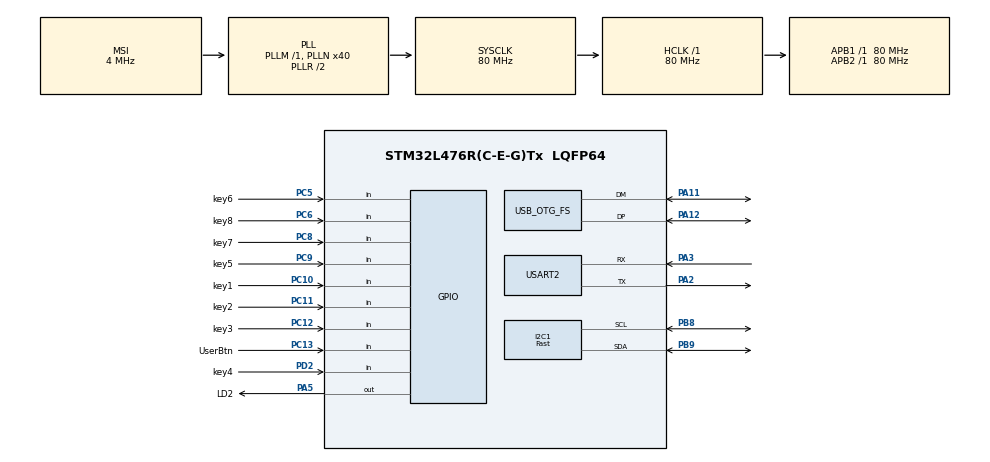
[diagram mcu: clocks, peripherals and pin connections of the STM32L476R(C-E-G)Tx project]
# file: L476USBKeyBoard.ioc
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I2C1.Analog_Filter=I2C_ANALOGFILTER_DISABLE
I2C1.I2C_Coeff_DF=0
I2C1.I2C_Fall_Time=0
I2C1.I2C_Rise_Time=0
I2C1.I2C_Speed_Mode=I2C_Fast
I2C1.OwnAddress=0
I2C1.Timing=0x00702D95
Mcu.Family=STM32L4
Mcu.Name=STM32L476R(C-E-G)Tx
Mcu.Package=LQFP64
NVIC.OTG_FS_IRQn=true\:0\:0\:false\:false\:true
NVIC.PriorityGroup=NVIC_PRIORITYGROUP_4
NVIC.TIM6_DAC_IRQn=true\:0\:0\:false\:false\:true
NVIC.TIM7_IRQn=true\:0\:0\:false\:false\:true
PA11.Mode=Device_Only
PA11.Signal=USB_OTG_FS_DM
PA12.GPIO_PuPd=GPIO_PULLUP
PA12.Mode=Device_Only
PA12.Signal=USB_OTG_FS_DP
PA13.Mode=Serial_Wire
PA13.Signal=SYS_JTMS-SWDIO
PA14.Mode=Serial_Wire
PA14.Signal=SYS_JTCK-SWCLK
PA2.Mode=Asynchronous
PA2.Signal=USART2_TX
PA3.Mode=Asynchronous
PA3.Signal=USART2_RX
PA5.GPIO_Label=LD2
PA5.GPIO_Speed=GPIO_SPEED_FREQ_VERY_HIGH
PA5.Signal=GPIO_Output
PB8.GPIO_FM8=I2C_FASTMODEPLUS_PB8
PB8.GPIO_PuPdOD=GPIO_NOPULL
PB8.GPIO_Speed=GPIO_SPEED_FREQ_VERY_HIGH
PB8.Mode=I2C
PB8.Signal=I2C1_SCL
PB9.GPIO_FM9=I2C_FASTMODEPLUS_PB9
PB9.GPIO_PuPdOD=GPIO_NOPULL
PB9.GPIO_Speed=GPIO_SPEED_FREQ_VERY_HIGH
PB9.Mode=I2C
PB9.Signal=I2C1_SDA
PC10.GPIO_Label=key1
PC10.GPIO_PuPd=GPIO_PULLUP
PC10.Signal=GPIO_Input
PC11.GPIO_Label=key2
PC11.GPIO_PuPd=GPIO_PULLUP
PC11.Signal=GPIO_Input
PC12.GPIO_Label=key3
PC12.GPIO_PuPd=GPIO_PULLUP
PC12.Signal=GPIO_Input
PC13.GPIO_Label=UserBtn
PC13.GPIO_PuPd=GPIO_PULLUP
PC13.Signal=GPIO_Input
PC5.GPIO_Label=key6
PC5.GPIO_PuPd=GPIO_PULLUP
PC5.Signal=GPIO_Input
PC6.GPIO_Label=key8
PC6.GPIO_PuPd=GPIO_PULLUP
PC6.Signal=GPIO_Input
PC8.GPIO_Label=key7
PC8.GPIO_PuPd=GPIO_PULLUP
PC8.Signal=GPIO_Input
PC9.GPIO_Label=key5
PC9.GPIO_PuPd=GPIO_PULLUP
PC9.Signal=GPIO_Input
PD2.GPIO_Label=key4
PD2.GPIO_PuPd=GPIO_PULLUP
PD2.Signal=GPIO_Input
ProjectManager.HeapSize=0x2000
ProjectManager.StackSize=0x2000
ProjectManager.TargetToolchain=EWARM
RCC.ADCFreq_Value=48000000
RCC.AHBFreq_Value=80000000
RCC.APB1Freq_Value=80000000
RCC.APB1TimFreq_Value=80000000
RCC.APB2Freq_Value=80000000
RCC.APB2TimFreq_Value=80000000
RCC.CortexFreq_Value=80000000
RCC.HCLKFreq_Value=80000000
RCC.HSE_VALUE=8000000
RCC.HSI_VALUE=16000000
RCC.LSE_VALUE=32768
RCC.MSI_VALUE=4000000
RCC.PLLN=40
RCC.PLLSAI1N=24
RCC.SYSCLKFreq_VALUE=80000000
RCC.SYSCLKSource=RCC_SYSCLKSOURCE_PLLCLK
RCC.USBFreq_Value=48000000
RCC.VCOOutputFreq_Value=160000000
TIM6.Period=4999
TIM6.Prescaler=79
TIM7.Period=9999
TIM7.Prescaler=79
USART2.WordLength=UART_WORDLENGTH_8B
USB_DEVICE.CLASS_NAME_FS=CUSTOMHID
USB_DEVICE.PRODUCT_STRING_CUSTOMHID_FS=KeyBoard-By DQL
USB_DEVICE.USBD_CUSTOMHID_OUTREPORT_BUF_SIZE-CUSTOM_HID_FS=64
USB_DEVICE.USBD_CUSTOM_HID_REPORT_DESC_SIZE-CUSTOM_HID_FS=197
USB_DEVICE.USBD_DEBUG_LEVEL-CUSTOM_HID_FS=3
USB_DEVICE.USBD_MAX_NUM_INTERFACES-CUSTOM_HID_FS=4
USB_DEVICE.VirtualModeFS=Custom_Hid_FS
USB_OTG_FS.VirtualMode=Device_Only
USB_OTG_FS.vbus_sensing_enable=DISABLE
VP_TIM6_VS_ClockSourceINT.Mode=Enable_Timer
VP_TIM7_VS_ClockSourceINT.Mode=Enable_Timer
VP_USB_DEVICE_VS_USB_DEVICE_CUSTOM_HID_FS.Mode=CUSTOM_HID_FS
board=L476USBKeyBoard

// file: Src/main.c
/**
  ******************************************************************************
  * File Name          : main.c
  * Description        : Main program body
  ******************************************************************************
  *
  * Copyright (c) 2017 STMicroelectronics International N.V.
  * All rights reserved.
  *
  * Redistribution and use in source and binary forms, with or without
  * modification, are permitted, provided that the following conditions are met:
  *
  * 1. Redistribution of source code must retain the above copyright notice,
  *    this list of conditions and the following disclaimer.
  * 2. Redistributions in binary form must reproduce the above copyright notice,
  *    this list of conditions and the following disclaimer in the documentation
  *    and/or other materials provided with the distribution.
  * 3. Neither the name of STMicroelectronics nor the names of other
  *    contributors to this software may be used to endorse or promote products
  *    derived from this software without specific written permission.
  * 4. This software, including modifications and/or derivative works of this
  *    software, must execute solely and exclusively on microcontroller or
  *    microprocessor devices manufactured by or for STMicroelectronics.
  * 5. Redistribution and use of this software other than as permitted under
  *    this license is void and will automatically terminate your rights under
  *    this license.
  *
  * THIS SOFTWARE IS PROVIDED BY STMICROELECTRONICS AND CONTRIBUTORS "AS IS"
  * AND ANY EXPRESS, IMPLIED OR STATUTORY WARRANTIES, INCLUDING, BUT NOT
  * LIMITED TO, THE IMPLIED WARRANTIES OF MERCHANTABILITY, FITNESS FOR A
  * PARTICULAR PURPOSE AND NON-INFRINGEMENT OF THIRD PARTY INTELLECTUAL PROPERTY
  * RIGHTS ARE DISCLAIMED TO THE FULLEST EXTENT PERMITTED BY LAW. IN NO EVENT
  * SHALL STMICROELECTRONICS OR CONTRIBUTORS BE LIABLE FOR ANY DIRECT, INDIRECT,
  * INCIDENTAL, SPECIAL, EXEMPLARY, OR CONSEQUENTIAL DAMAGES (INCLUDING, BUT NOT
  * LIMITED TO, PROCUREMENT OF SUBSTITUTE GOODS OR SERVICES; LOSS OF USE, DATA,
  * OR PROFITS; OR BUSINESS INTERRUPTION) HOWEVER CAUSED AND ON ANY THEORY OF
  * LIABILITY, WHETHER IN CONTRACT, STRICT LIABILITY, OR TORT (INCLUDING
  * NEGLIGENCE OR OTHERWISE) ARISING IN ANY WAY OUT OF THE USE OF THIS SOFTWARE,
  * EVEN IF ADVISED OF THE POSSIBILITY OF SUCH DAMAGE.
  *
  ******************************************************************************
  */
#include "main.h"
#include "stm32l4xx_hal.h"
#include "i2c.h"
#include "tim.h"
#include "usart.h"
#include "usb_device.h"
#include "gpio.h"

/* USER CODE BEGIN Includes */
#include "tm_stm32_usb_hid_device.h"
#include "multi_button.h"
#include "tm_stm32_mpu9250.h"
#include "tm_stm32_ahrs_imu.h"
/* USER CODE END Includes */

/* USER CODE BEGIN PV */
/* Private variables ---------------------------------------------------------*/

uint32_t cnt1=0,cnt2=0;
struct Button UserBtn,key1,key2,key3,key4,key5,key6,key7,key8;
uint8_t keyflag=0;//total 8 keys
#define BIT0 0x01
#define BIT1 0x02
#define BIT2 0x04
#define BIT3 0x08
#define BIT4 0x10
#define BIT5 0x20
#define BIT6 0x40
#define BIT7 0x80

#define KEY_W 0X1A
#define KEY_S 0X16
#define KEY_A 0X04
#define KEY_D 0X07
#define KEY_R 0X15
#define KEY_F 0X09

#define USEDEBUG 1

uint8_t UserBtnflag=0;
uint8_t AHRS_DataReady=0;

TM_MPU9250_t MPU9250;
TM_AHRSIMU_t IMU;

int roll=0,pith=0,yaw=0;

/* Set structs for all examples */
TM_USB_HIDDEVICE_Keyboard_t Keyboard;
TM_USB_HIDDEVICE_Gamepad_t Gamepad1, Gamepad2;
TM_USB_HIDDEVICE_Mouse_t Mouse;

TM_USB_HIDDEVICE_Status_t TM_USB_HIDDEVICE_INT_Status;

/* USER CODE END PV */

void SystemClock_Config(void);
void Error_Handler(void);

/* USER CODE BEGIN PFP */
/* Private function prototypes -----------------------------------------------*/
uint8_t read_UserBtn_GPIO()
{
    return HAL_GPIO_ReadPin(UserBtn_GPIO_Port, UserBtn_Pin);
}
uint8_t read_key1_GPIO()
{
    return HAL_GPIO_ReadPin(key1_GPIO_Port, key1_Pin);
}
uint8_t read_key2_GPIO()
{
    return HAL_GPIO_ReadPin(key2_GPIO_Port, key2_Pin);
}
uint8_t read_key3_GPIO()
{
    return HAL_GPIO_ReadPin(key3_GPIO_Port, key3_Pin);
}
uint8_t read_key4_GPIO()
{
    return HAL_GPIO_ReadPin(key4_GPIO_Port, key4_Pin);
}
uint8_t read_key5_GPIO()
{
    return HAL_GPIO_ReadPin(key5_GPIO_Port, key5_Pin);
}
uint8_t read_key6_GPIO()
{
    return HAL_GPIO_ReadPin(key6_GPIO_Port, key6_Pin);
}
uint8_t read_key7_GPIO()
{
    return HAL_GPIO_ReadPin(key7_GPIO_Port, key7_Pin);
}
uint8_t read_key8_GPIO()
{
    return HAL_GPIO_ReadPin(key8_GPIO_Port, key8_Pin);
}
//UserBtn
void UserBtn_PRESS_DOWN_Handler(void* btn)
{
  //do something...
#ifdef USEDEBUG
  printf("UserBtn_PRESS_DOWN!\n");
#endif
}

void UserBtn_PRESS_UP_Handler(void* btn)
{
  //do something...
#ifdef USEDEBUG
  printf("UserBtn_PRESS_UP!\n");
#endif
}
void UserBtn_SINGLE_Click_Handler(void* btn)
{
  //do something...
  UserBtnflag++;
  if(UserBtnflag>2)
  {
    UserBtnflag=0;
  }
#ifdef USEDEBUG
  printf("UserBtn_SINGLE_Click!\n");
#endif
}
//key1
void key1_PRESS_DOWN_Handler(void* btn)
{
  keyflag|=BIT0;
  //do something...
#ifdef USEDEBUG
  printf("key1_PRESS_DOWN!\n");
#endif
}

void key1_PRESS_UP_Handler(void* btn)
{
  keyflag&=~BIT0;
  //do something...
#ifdef USEDEBUG
  printf("key1_PRESS_UP!\n");
#endif
}
//key2
void key2_PRESS_DOWN_Handler(void* btn)
{
  keyflag|=BIT1;
  //do something...
#ifdef USEDEBUG
  printf("key2_PRESS_DOWN!\n");
#endif
}

void key2_PRESS_UP_Handler(void* btn)
{
  keyflag&=~BIT1;
  //do something...
#ifdef USEDEBUG
  printf("key2_PRESS_UP!\n");
#endif
}
//key3
void key3_PRESS_DOWN_Handler(void* btn)
{
  keyflag|=BIT2;

    //do something...
  #ifdef USEDEBUG
	printf("key3_PRESS_DOWN!\n");
  #endif
}

void key3_PRESS_UP_Handler(void* btn)
{
  keyflag&=~BIT2;
  //do something...
#ifdef USEDEBUG
  printf("key3_PRESS_UP!\n");
#endif
}

//key4
void key4_PRESS_DOWN_Handler(void* btn)
{
  keyflag|=BIT3;

    //do something...
  #ifdef USEDEBUG
	printf("key4_PRESS_DOWN!\n");
  #endif
}
void key4_PRESS_UP_Handler(void* btn)
{
  keyflag&=~BIT3;
  //do something...
#ifdef USEDEBUG
  printf("key4_PRESS_UP!\n");
#endif
}

//key5
void key5_PRESS_DOWN_Handler(void* btn)
{
  keyflag|=BIT4;

    //do something...
  #ifdef USEDEBUG
	printf("key5_PRESS_DOWN!\n");
  #endif
}
void key5_PRESS_UP_Handler(void* btn)
{
  keyflag&=~BIT4;
  //do something...
#ifdef USEDEBUG
  printf("key5_PRESS_UP!\n");
#endif
}

//key6
void key6_PRESS_DOWN_Handler(void* btn)
{
  keyflag|=BIT5;

    //do something...
  #ifdef USEDEBUG
	printf("key6_PRESS_DOWN!\n");
  #endif
}
void key6_PRESS_UP_Handler(void* btn)
{
  keyflag&=~BIT5;
  //do something...
#ifdef USEDEBUG
  printf("key6_PRESS_UP!\n");
#endif
}

//key7
void key7_PRESS_DOWN_Handler(void* btn)
{
  keyflag|=BIT6;

    //do something...
  #ifdef USEDEBUG
	printf("key7_PRESS_DOWN!\n");
  #endif
}
void key7_PRESS_UP_Handler(void* btn)
{
  keyflag&=~BIT6;
  //do something...
#ifdef USEDEBUG
  printf("key7_PRESS_UP!\n");
#endif
}

//key8
void key8_PRESS_DOWN_Handler(void* btn)
{
  keyflag|=BIT7;

    //do something...
  #ifdef USEDEBUG
	printf("key8_PRESS_DOWN!\n");
  #endif
}
void key8_PRESS_UP_Handler(void* btn)
{
  keyflag&=~BIT7;
  //do something...
#ifdef USEDEBUG
  printf("key8_PRESS_UP!\n");
#endif
}
void UserKeys_Init(void)
{
  button_init(&UserBtn, read_UserBtn_GPIO, 0);//key is Low voltage valid
  button_attach(&UserBtn, PRESS_DOWN,       UserBtn_PRESS_DOWN_Handler);
  button_attach(&UserBtn, PRESS_UP,         UserBtn_PRESS_UP_Handler);
  button_attach(&UserBtn, SINGLE_CLICK,     UserBtn_SINGLE_Click_Handler);
  button_start(&UserBtn);

  button_init(&key1, read_key1_GPIO, 0);//key is Low voltage valid
  button_attach(&key1, PRESS_DOWN,  key1_PRESS_DOWN_Handler);
  button_attach(&key1, PRESS_UP,    key1_PRESS_UP_Handler);
  button_start(&key1);

  button_init(&key2, read_key2_GPIO, 0);//key is Low voltage valid
  button_attach(&key2, PRESS_DOWN, key2_PRESS_DOWN_Handler);
  button_attach(&key2, PRESS_UP,   key2_PRESS_UP_Handler);
  button_start(&key2);

  button_init(&key3, read_key3_GPIO, 0);//key is Low voltage valid
  button_attach(&key3, PRESS_DOWN, key3_PRESS_DOWN_Handler);
  button_attach(&key3, PRESS_UP,   key3_PRESS_UP_Handler);
  button_start(&key3);

  button_init(&key4, read_key4_GPIO, 0);//key is Low voltage valid
  button_attach(&key4, PRESS_DOWN, key4_PRESS_DOWN_Handler);
  button_attach(&key4, PRESS_UP,   key4_PRESS_UP_Handler);
  button_start(&key4);

  button_init(&key5, read_key5_GPIO, 0);//key is Low voltage valid
  button_attach(&key5, PRESS_DOWN, key5_PRESS_DOWN_Handler);
  button_attach(&key5, PRESS_UP,   key5_PRESS_UP_Handler);
  button_start(&key5);

  button_init(&key6, read_key6_GPIO, 0);//key is Low voltage valid
  button_attach(&key6, PRESS_DOWN, key6_PRESS_DOWN_Handler);
  button_attach(&key6, PRESS_UP,   key6_PRESS_UP_Handler);
  button_start(&key6);

  button_init(&key7, read_key7_GPIO, 0);//key is Low voltage valid
  button_attach(&key7, PRESS_DOWN, key7_PRESS_DOWN_Handler);
  button_attach(&key7, PRESS_UP,   key7_PRESS_UP_Handler);
  button_start(&key7);

  button_init(&key8, read_key8_GPIO, 0);//key is Low voltage valid
  button_attach(&key8, PRESS_DOWN, key8_PRESS_DOWN_Handler);
  button_attach(&key8, PRESS_UP,   key8_PRESS_UP_Handler);
  button_start(&key8);
}

/* USER CODE END PFP */

/* USER CODE BEGIN 0 */
void HAL_TIM_PeriodElapsedCallback(TIM_HandleTypeDef *htim)
{
  if(htim->Instance ==TIM6)//tim6 5ms
  {
    button_ticks();//recommand 5ms for key scan
  }
  if(htim->Instance ==TIM7)//tim7  //recommand 15ms
  {
    if (TM_MPU9250_DataReady(&MPU9250) == TM_MPU9250_Result_Ok)
    {
      TM_MPU9250_ReadAcce(&MPU9250);
      TM_MPU9250_ReadGyro(&MPU9250);
      TM_MPU9250_ReadMag(&MPU9250);
      TM_AHRSIMU_UpdateAHRS(&IMU, MPU9250.Gx, MPU9250.Gy, MPU9250.Gz,
                            MPU9250.Ax, MPU9250.Ay, MPU9250.Az,
                            MPU9250.Mx, MPU9250.My, MPU9250.Mz);
      AHRS_DataReady=1;
    }

  }
}
void LEDFlashing(uint32_t periodtime,uint32_t ontime)
{
  static uint32_t StartTime=0;
  static uint8_t LedStatus=0;
  if(!LedStatus)
  {
    if(HAL_GetTick()-StartTime > periodtime)
    {
      LD2_ON();
      LedStatus =1;
      StartTime = HAL_GetTick();
    }
  }
  else
  {
    if(HAL_GetTick()-StartTime > ontime)
    {
      LD2_OFF();
      LedStatus =0;
      StartTime = HAL_GetTick();
    }
  }
}
/* USER CODE END 0 */

int main(void)
{

  /* MCU Configuration----------------------------------------------------------*/

  /* Reset of all peripherals, Initializes the Flash interface and the Systick. */
  HAL_Init();

  /* Configure the system clock */
  SystemClock_Config();

  /* Initialize all configured peripherals */
  MX_GPIO_Init();
  MX_USART2_UART_Init();
  MX_USB_DEVICE_Init();
  MX_TIM6_Init();
  MX_I2C1_Init();
  MX_TIM7_Init();

  /* USER CODE BEGIN 2 */
  printf("Hello STM32!!!\r\n");

  /* Init MPU9250 */
  if (TM_MPU9250_Init(&MPU9250, TM_MPU9250_Device_0) != TM_MPU9250_Result_Ok)
  {
    while (1)
    {
      printf("MPU9250 Device error!\r\n");
      HAL_Delay(500);
    }
  }
  printf("Device connected!\r\n");
  TM_AHRSIMU_Init(&IMU, 2000, 0.1, 0);

  HAL_TIM_Base_Start_IT(&htim6);
  HAL_TIM_Base_Start_IT(&htim7);

  /*Init user keys*/
  UserKeys_Init();

  /* Initialize USB HID Device */
  TM_USB_HIDDEVICE_Init();
  /* Set default values for mouse struct */
  TM_USB_HIDDEVICE_MouseStructInit(&Mouse);
  /* Set default values for keyboard struct */
  TM_USB_HIDDEVICE_KeyboardStructInit(&Keyboard);
  /* Set default values for gamepad structs */
  TM_USB_HIDDEVICE_GamepadStructInit(&Gamepad1);
  TM_USB_HIDDEVICE_GamepadStructInit(&Gamepad2);

  /* USER CODE END 2 */

  /* Infinite loop */
  while (1)
  {

  /* USER CODE BEGIN 3 */

    if(UserBtnflag)//进入状态
    {
      if(UserBtnflag==2)//初始化后按2下UserBtn，启用重力感应；板载LD2绿色LED 500ms亮，500ms灭
      {
        LEDFlashing(1000,500);
        if(AHRS_DataReady==1)
        {
          roll=(int)IMU.Roll;
          pith=(int)IMU.Pitch;
          yaw=(int)IMU.Yaw;
          AHRS_DataReady=0;
        }
        //printf("R: %d, P: %d, Y: %d\n", roll, pith, yaw);
        //HAL_Delay(200);
        if(pith>=12)//前进
        {
          keyflag|=BIT1;
        }
        else if(pith<=0)//后退
        {
          keyflag|=BIT3;
        }
        else
        {
          keyflag&=~0x0a;
        }
        if( roll>=145 && roll<=168 )//左转
        {
          keyflag|=BIT4;
        }
        else if( roll>=-170 && roll<=-145 )//右转
        {
          keyflag|=BIT5;
        }
        else
        {
          keyflag&=~0x30;
        }
      }
      else
      {
        LEDFlashing(1000,200);//只启用按键，板载LD2绿色LED 200ms亮，800ms灭
      }
      if (TM_USB_HIDDEVICE_GetStatus() == TM_USB_HIDDEVICE_Status_Connected)
      {
        if(keyflag)
        {
          if(keyflag&BIT0)//k1
          {
            Keyboard.Key1 = KEY_R;
          }
          else
          {
            Keyboard.Key1 = 0;
          }
          if(keyflag&BIT1)//k2
          {
            Keyboard.Key2 = KEY_W;
          }
          else
          {
            Keyboard.Key2 = 0;
          }
          if(keyflag&BIT2)//k3
          {
            //Keyboard.Key3 = KEY_F;
            Keyboard.L_SHIFT=TM_USB_HIDDEVICE_Button_Pressed;
          }
          else
          {
            Keyboard.L_SHIFT=TM_USB_HIDDEVICE_Button_Released;
           // Keyboard.Key3 = 0;
          }
          if(keyflag&BIT3)//k4
          {
            Keyboard.Key4 = KEY_S;
          }
          else
          {
            Keyboard.Key4 = 0;
          }
          if(keyflag&BIT4)//k5
          {
            Keyboard.Key5= KEY_A;
          }
          else
          {
            Keyboard.Key5 = 0;
          }
          if(keyflag&BIT5)//k6
          {
            Keyboard.Key6 = KEY_D;
          }
          else
          {
            Keyboard.Key6 = 0;
          }

          if(keyflag&BIT6)//按键7设为鼠标左键单击
          {
            Mouse.LeftButton = TM_USB_HIDDEVICE_Button_Pressed;
          }
          else
          {
            Mouse.LeftButton = TM_USB_HIDDEVICE_Button_Released;
          }
          if(keyflag&BIT7)//按键8设为鼠标右键单击
          {
            Mouse.RightButton = TM_USB_HIDDEVICE_Button_Pressed;
          }
          else
          {
            Mouse.RightButton = TM_USB_HIDDEVICE_Button_Released;
          }
          TM_USB_HIDDEVICE_MouseSend(&Mouse);
          TM_USB_HIDDEVICE_KeyboardSend(&Keyboard); /* Send keyboard report */
        }
        else
        {
          TM_USB_HIDDEVICE_MouseReleaseAll();
          TM_USB_HIDDEVICE_KeyboardReleaseAll();
        }
      }
    }
    else
    {
      TM_USB_HIDDEVICE_KeyboardReleaseAll();
      LEDFlashing(1000,50);//未进入状态，板载LD2绿色LED快闪
    }
  }
  /* USER CODE END 3 */

}

/** System Clock Configuration
*/
void SystemClock_Config(void)
{

  RCC_OscInitTypeDef RCC_OscInitStruct;
  RCC_ClkInitTypeDef RCC_ClkInitStruct;
  RCC_PeriphCLKInitTypeDef PeriphClkInit;

    /**Initializes the CPU, AHB and APB busses clocks
    */
  RCC_OscInitStruct.OscillatorType = RCC_OSCILLATORTYPE_MSI;
  RCC_OscInitStruct.MSIState = RCC_MSI_ON;
  RCC_OscInitStruct.MSICalibrationValue = 0;
  RCC_OscInitStruct.MSIClockRange = RCC_MSIRANGE_6;
  RCC_OscInitStruct.PLL.PLLState = RCC_PLL_ON;
  RCC_OscInitStruct.PLL.PLLSource = RCC_PLLSOURCE_MSI;
  RCC_OscInitStruct.PLL.PLLM = 1;
  RCC_OscInitStruct.PLL.PLLN = 40;
  RCC_OscInitStruct.PLL.PLLP = RCC_PLLP_DIV7;
  RCC_OscInitStruct.PLL.PLLQ = RCC_PLLQ_DIV2;
  RCC_OscInitStruct.PLL.PLLR = RCC_PLLR_DIV2;
  if (HAL_RCC_OscConfig(&RCC_OscInitStruct) != HAL_OK)
  {
    Error_Handler();
  }

    /**Initializes the CPU, AHB and APB busses clocks
    */
  RCC_ClkInitStruct.ClockType = RCC_CLOCKTYPE_HCLK|RCC_CLOCKTYPE_SYSCLK
                              |RCC_CLOCKTYPE_PCLK1|RCC_CLOCKTYPE_PCLK2;
  RCC_ClkInitStruct.SYSCLKSource = RCC_SYSCLKSOURCE_PLLCLK;
  RCC_ClkInitStruct.AHBCLKDivider = RCC_SYSCLK_DIV1;
  RCC_ClkInitStruct.APB1CLKDivider = RCC_HCLK_DIV1;
  RCC_ClkInitStruct.APB2CLKDivider = RCC_HCLK_DIV1;

  if (HAL_RCC_ClockConfig(&RCC_ClkInitStruct, FLASH_LATENCY_4) != HAL_OK)
  {
    Error_Handler();
  }

  PeriphClkInit.PeriphClockSelection = RCC_PERIPHCLK_USART2|RCC_PERIPHCLK_I2C1
                              |RCC_PERIPHCLK_USB;
  PeriphClkInit.Usart2ClockSelection = RCC_USART2CLKSOURCE_PCLK1;
  PeriphClkInit.I2c1ClockSelection = RCC_I2C1CLKSOURCE_PCLK1;
  PeriphClkInit.UsbClockSelection = RCC_USBCLKSOURCE_PLLSAI1;
  PeriphClkInit.PLLSAI1.PLLSAI1Source = RCC_PLLSOURCE_MSI;
  PeriphClkInit.PLLSAI1.PLLSAI1M = 1;
  PeriphClkInit.PLLSAI1.PLLSAI1N = 24;
  PeriphClkInit.PLLSAI1.PLLSAI1P = RCC_PLLP_DIV7;
  PeriphClkInit.PLLSAI1.PLLSAI1Q = RCC_PLLQ_DIV2;
  PeriphClkInit.PLLSAI1.PLLSAI1R = RCC_PLLR_DIV2;
  PeriphClkInit.PLLSAI1.PLLSAI1ClockOut = RCC_PLLSAI1_48M2CLK;
  if (HAL_RCCEx_PeriphCLKConfig(&PeriphClkInit) != HAL_OK)
  {
    Error_Handler();
  }

    /**Configure the main internal regulator output voltage
    */
  if (HAL_PWREx_ControlVoltageScaling(PWR_REGULATOR_VOLTAGE_SCALE1) != HAL_OK)
  {
    Error_Handler();
  }

    /**Configure the Systick interrupt time
    */
  HAL_SYSTICK_Config(HAL_RCC_GetHCLKFreq()/1000);

    /**Configure the Systick
    */
  HAL_SYSTICK_CLKSourceConfig(SYSTICK_CLKSOURCE_HCLK);

  /* SysTick_IRQn interrupt configuration */
  HAL_NVIC_SetPriority(SysTick_IRQn, 0, 0);
}

void Error_Handler(void)
{
  while(1)
  {
  }
}

/************************ (C) COPYRIGHT STMicroelectronics *****END OF FILE****/
